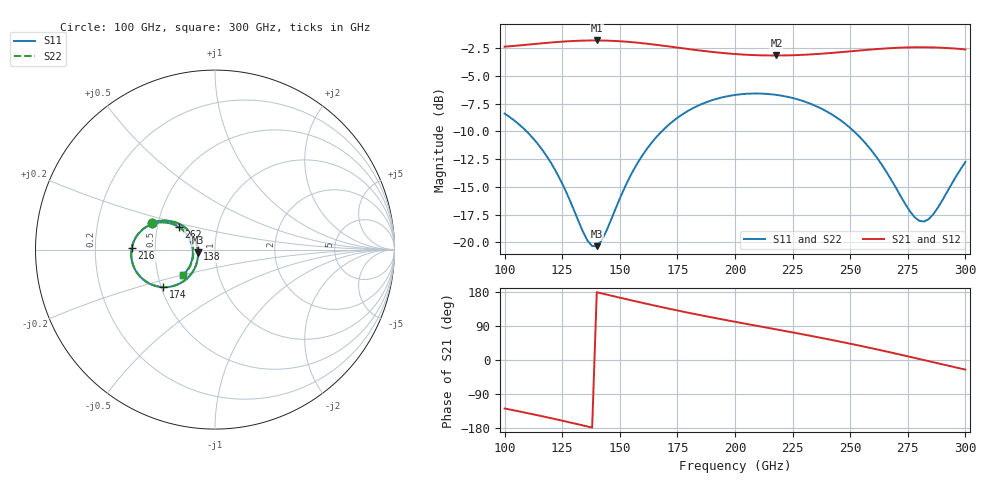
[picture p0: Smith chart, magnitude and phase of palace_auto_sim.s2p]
#  GHZ S DB R 50
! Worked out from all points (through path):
!   101 points, 100 GHz to 300 GHz, reference 50 ohm
!   highest |S21| = -1.82 dB at 140 GHz (marker M1); lowest = -3.2 dB at 218 GHz (marker M2)
!   group delay of S21, straight-line fit = 3.5 ps
!   lowest |S11| = -20.3 dB at 140 GHz (marker M3), VSWR 1.21, Z = 41.3 - j1.43 ohm
!   |S11| at or under -10 dB: 109.5 GHz to 168.2 GHz (58.7 GHz wide, 42.3 % of centre); 251.6 GHz to end of sweep
!   |S22| runs from -20.3 to -6.6 dB; largest |S21 - S12| = 9e-14
!   S11 on the Smith chart (normalised r, x): 100 GHz: 0.46, +0.16; 138 GHz: 0.82, +0.00; 174 GHz: 0.51, -0.25; 216 GHz: 0.37, +0.01; 262 GHz: 0.65, +0.17; 300 GHz: 0.67, -0.20
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100  -8.40 157.2  -2.38 -128.0  -2.38 -128.0  -8.40 157.1
118  -12.15 144.4  -2.04 -150.7  -2.04 -150.7  -12.15 144.4
126  -15.13 144.7  -1.91 -161.5  -1.91 -161.5  -15.13 144.7
134  -19.03 160.1  -1.83 -172.7  -1.83 -172.7  -19.02 160.0
138  -20.33 179.0  -1.82 -178.3  -1.82 -178.3  -20.32 178.9
140  -20.34 -169.7  -1.82 178.8  -1.82 178.8  -20.33 -169.9
144  -19.05 -150.6  -1.83 173.1  -1.83 173.1  -19.05 -150.8
156  -13.47 -133.9  -1.98 156.1  -1.98 156.1  -13.47 -134.0
168  -10.04 -139.4  -2.27 139.8  -2.27 139.8  -10.04 -139.6
174  -8.94 -144.2  -2.43 132.0  -2.43 132.0  -8.94 -144.3
186  -7.50 -154.6  -2.75 117.2  -2.75 117.2  -7.51 -154.8
200  -6.72 -167.1  -3.04 100.9  -3.04 100.9  -6.73 -167.3
216  -6.67 179.0  -3.17 82.9  -3.17 82.9  -6.67 178.8
218  -6.72 177.3  -3.17 80.7  -3.17 80.7  -6.72 177.1
234  -7.62 164.0  -3.06 62.4  -3.06 62.4  -7.63 163.7
250  -9.69 152.4  -2.80 43.0  -2.80 43.0  -9.71 152.0
262  -12.48 148.2  -2.59 27.4  -2.59 27.4  -12.53 147.6
268  -14.42 150.4  -2.50 19.3  -2.50 19.3  -14.50 149.7
276  -17.22 164.3  -2.44 8.2  -2.44 8.2  -17.38 163.7
282  -18.12 -174.6  -2.43 -0.2  -2.43 -0.2  -18.32 -174.6
286  -17.48 -160.4  -2.44 -5.8  -2.44 -5.8  -17.66 -160.0
300  -12.75 -141.6  -2.62 -25.3  -2.62 -25.3  -12.81 -141.1
